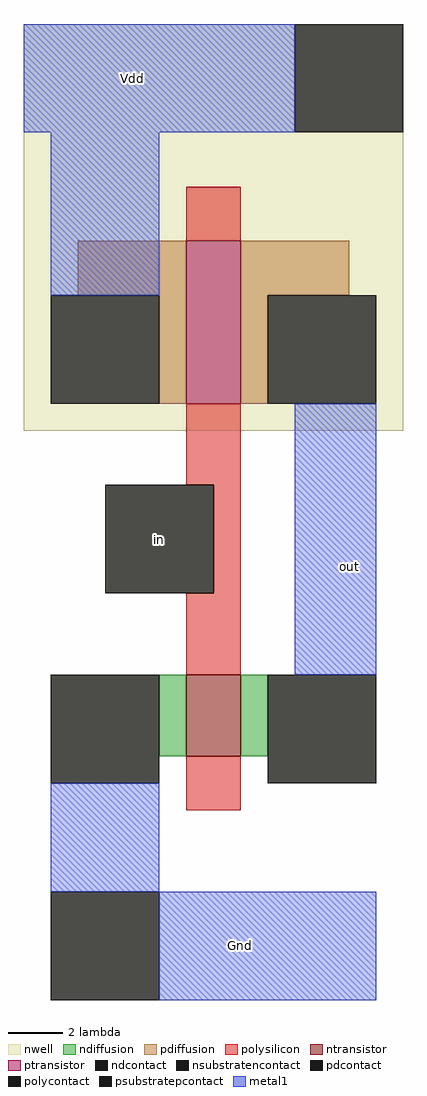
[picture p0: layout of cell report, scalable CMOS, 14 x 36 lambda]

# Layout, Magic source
magic
tech scmos
<< nwell >>
rect -11 0 3 15
<< polysilicon >>
rect -5 7 -3 9
rect -5 -2 -3 1
rect -4 -6 -3 -2
rect -5 -9 -3 -6
rect -5 -14 -3 -12
<< ndiffusion >>
rect -6 -12 -5 -9
rect -3 -12 -2 -9
<< pdiffusion >>
rect -9 5 -5 7
rect -6 1 -5 5
rect -3 5 1 7
rect -3 1 -2 5
<< metal1 >>
rect -11 11 -1 15
rect -10 5 -6 11
rect -1 -9 2 1
rect -10 -17 -6 -13
rect -6 -21 2 -17
<< ntransistor >>
rect -5 -12 -3 -9
<< ptransistor >>
rect -5 1 -3 7
<< polycontact >>
rect -8 -6 -4 -2
<< ndcontact >>
rect -10 -13 -6 -9
rect -2 -13 2 -9
<< pdcontact >>
rect -10 1 -6 5
rect -2 1 2 5
<< psubstratepcontact >>
rect -10 -21 -6 -17
<< nsubstratencontact >>
rect -1 11 3 15
<< labels >>
rlabel metal1 1 -5 1 -5 7 out
rlabel polycontact -6 -4 -6 -4 1 in
rlabel metal1 -7 13 -7 13 4 Vdd
rlabel metal1 -3 -19 -3 -19 1 Gnd
<< end >>
